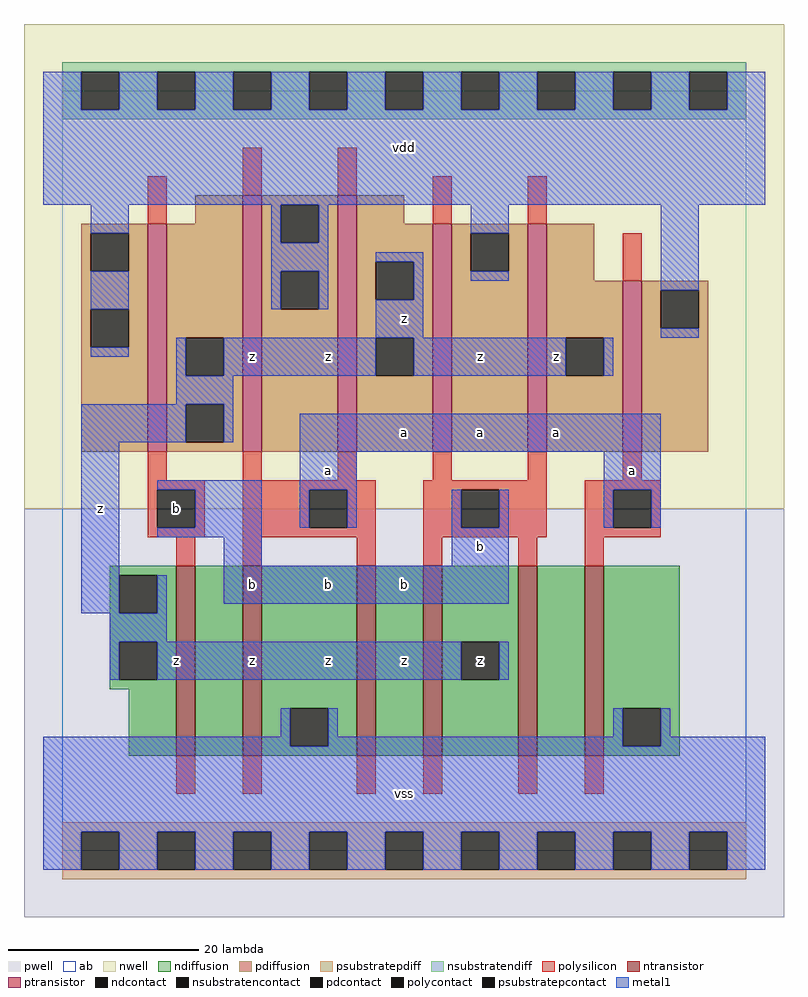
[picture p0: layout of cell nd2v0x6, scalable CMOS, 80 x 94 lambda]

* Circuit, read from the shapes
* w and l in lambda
.subckt nd2v0x6 a b vdd vss z
M1 n1 b z vss nfet w=20 l=2
M2 vss a n1 vss nfet w=20 l=2
M3 n2 a vss vss nfet w=20 l=2
M4 z b n2 vss nfet w=20 l=2
M5 n3 b z vss nfet w=20 l=2
M6 vss a n3 vss nfet w=20 l=2
M7 z b vdd vdd pfet w=24 l=2 m=3
M8 vdd a z vdd pfet w=27 l=2 m=2
M9 vdd a z vdd pfet w=18 l=2
.ends

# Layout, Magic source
magic
tech scmos
<< ab >>
rect 0 0 72 80
<< pwell >>
rect -4 -7 76 36
<< nwell >>
rect -4 36 76 87
<< polysilicon >>
rect 9 66 11 71
rect 19 69 21 74
rect 29 69 31 74
rect 39 66 41 71
rect 49 66 51 71
rect 59 60 61 65
rect 9 39 11 42
rect 19 39 21 42
rect 29 39 31 42
rect 39 39 41 42
rect 49 39 51 42
rect 59 39 61 42
rect 9 38 15 39
rect 9 34 10 38
rect 14 34 15 38
rect 9 33 15 34
rect 19 38 33 39
rect 19 34 26 38
rect 30 34 33 38
rect 19 33 33 34
rect 12 30 14 33
rect 19 30 21 33
rect 31 30 33 33
rect 38 38 51 39
rect 38 34 42 38
rect 46 34 51 38
rect 38 33 51 34
rect 55 38 63 39
rect 55 34 58 38
rect 62 34 63 38
rect 55 33 63 34
rect 38 30 40 33
rect 48 30 50 33
rect 55 30 57 33
rect 12 6 14 10
rect 19 6 21 10
rect 31 6 33 10
rect 38 6 40 10
rect 48 6 50 10
rect 55 6 57 10
<< ndiffusion >>
rect 5 29 12 30
rect 5 25 6 29
rect 10 25 12 29
rect 5 22 12 25
rect 5 18 6 22
rect 10 18 12 22
rect 5 17 12 18
rect 7 10 12 17
rect 14 10 19 30
rect 21 15 31 30
rect 21 11 24 15
rect 28 11 31 15
rect 21 10 31 11
rect 33 10 38 30
rect 40 22 48 30
rect 40 18 42 22
rect 46 18 48 22
rect 40 10 48 18
rect 50 10 55 30
rect 57 15 65 30
rect 57 11 59 15
rect 63 11 65 15
rect 57 10 65 11
<< pdiffusion >>
rect 14 66 19 69
rect 2 65 9 66
rect 2 61 3 65
rect 7 61 9 65
rect 2 57 9 61
rect 2 53 3 57
rect 7 53 9 57
rect 2 42 9 53
rect 11 54 19 66
rect 11 50 13 54
rect 17 50 19 54
rect 11 47 19 50
rect 11 43 13 47
rect 17 43 19 47
rect 11 42 19 43
rect 21 68 29 69
rect 21 64 23 68
rect 27 64 29 68
rect 21 61 29 64
rect 21 57 23 61
rect 27 57 29 61
rect 21 42 29 57
rect 31 66 36 69
rect 31 62 39 66
rect 31 58 33 62
rect 37 58 39 62
rect 31 54 39 58
rect 31 50 33 54
rect 37 50 39 54
rect 31 42 39 50
rect 41 65 49 66
rect 41 61 43 65
rect 47 61 49 65
rect 41 42 49 61
rect 51 60 56 66
rect 51 54 59 60
rect 51 50 53 54
rect 57 50 59 54
rect 51 42 59 50
rect 61 59 68 60
rect 61 55 63 59
rect 67 55 68 59
rect 61 42 68 55
<< metal1 >>
rect -2 78 2 82
rect 6 78 10 82
rect 14 78 18 82
rect 22 78 26 82
rect 30 78 34 82
rect 38 78 42 82
rect 46 78 50 82
rect 54 78 58 82
rect 62 78 66 82
rect 70 78 74 82
rect -2 68 74 78
rect 3 65 7 68
rect 3 57 7 61
rect 22 64 23 68
rect 27 64 28 68
rect 22 61 28 64
rect 43 65 47 68
rect 22 57 23 61
rect 27 57 28 61
rect 33 62 38 63
rect 37 58 38 62
rect 43 60 47 61
rect 33 54 38 58
rect 63 59 67 68
rect 63 54 67 55
rect 3 52 7 53
rect 12 50 13 54
rect 17 50 33 54
rect 37 50 53 54
rect 57 50 58 54
rect 12 47 18 50
rect 2 43 13 47
rect 17 43 18 47
rect 2 25 6 43
rect 25 42 63 46
rect 10 38 21 39
rect 14 34 21 38
rect 25 38 31 42
rect 57 38 63 42
rect 25 34 26 38
rect 30 34 31 38
rect 41 34 42 38
rect 46 34 47 38
rect 57 34 58 38
rect 62 34 63 38
rect 10 33 21 34
rect 17 30 21 33
rect 41 30 47 34
rect 10 25 11 29
rect 17 26 47 30
rect 5 22 11 25
rect 5 18 6 22
rect 10 18 42 22
rect 46 18 47 22
rect 23 12 24 15
rect -2 11 24 12
rect 28 12 29 15
rect 58 12 59 15
rect 28 11 59 12
rect 63 12 64 15
rect 63 11 74 12
rect -2 2 74 11
rect -2 -2 2 2
rect 6 -2 10 2
rect 14 -2 18 2
rect 22 -2 26 2
rect 30 -2 34 2
rect 38 -2 42 2
rect 46 -2 50 2
rect 54 -2 58 2
rect 62 -2 66 2
rect 70 -2 74 2
<< ntransistor >>
rect 12 10 14 30
rect 19 10 21 30
rect 31 10 33 30
rect 38 10 40 30
rect 48 10 50 30
rect 55 10 57 30
<< ptransistor >>
rect 9 42 11 66
rect 19 42 21 69
rect 29 42 31 69
rect 39 42 41 66
rect 49 42 51 66
rect 59 42 61 60
<< polycontact >>
rect 10 34 14 38
rect 26 34 30 38
rect 42 34 46 38
rect 58 34 62 38
<< ndcontact >>
rect 6 25 10 29
rect 6 18 10 22
rect 24 11 28 15
rect 42 18 46 22
rect 59 11 63 15
<< pdcontact >>
rect 3 61 7 65
rect 3 53 7 57
rect 13 50 17 54
rect 13 43 17 47
rect 23 64 27 68
rect 23 57 27 61
rect 33 58 37 62
rect 33 50 37 54
rect 43 61 47 65
rect 53 50 57 54
rect 63 55 67 59
<< psubstratepcontact >>
rect 2 -2 6 2
rect 10 -2 14 2
rect 18 -2 22 2
rect 26 -2 30 2
rect 34 -2 38 2
rect 42 -2 46 2
rect 50 -2 54 2
rect 58 -2 62 2
rect 66 -2 70 2
<< nsubstratencontact >>
rect 2 78 6 82
rect 10 78 14 82
rect 18 78 22 82
rect 26 78 30 82
rect 34 78 38 82
rect 42 78 46 82
rect 50 78 54 82
rect 58 78 62 82
rect 66 78 70 82
<< psubstratepdiff >>
rect 0 2 72 3
rect 0 -2 2 2
rect 6 -2 10 2
rect 14 -2 18 2
rect 22 -2 26 2
rect 30 -2 34 2
rect 38 -2 42 2
rect 46 -2 50 2
rect 54 -2 58 2
rect 62 -2 66 2
rect 70 -2 72 2
rect 0 -3 72 -2
<< nsubstratendiff >>
rect 0 82 72 83
rect 0 78 2 82
rect 6 78 10 82
rect 14 78 18 82
rect 22 78 26 82
rect 30 78 34 82
rect 38 78 42 82
rect 46 78 50 82
rect 54 78 58 82
rect 62 78 66 82
rect 70 78 72 82
rect 0 77 72 78
<< labels >>
rlabel metal1 4 36 4 36 6 z
rlabel metal1 12 20 12 20 6 z
rlabel metal1 20 28 20 28 6 b
rlabel metal1 20 20 20 20 6 z
rlabel polycontact 12 36 12 36 6 b
rlabel metal1 20 52 20 52 6 z
rlabel metal1 36 6 36 6 6 vss
rlabel metal1 28 28 28 28 6 b
rlabel metal1 28 20 28 20 6 z
rlabel metal1 36 28 36 28 6 b
rlabel metal1 36 20 36 20 6 z
rlabel metal1 28 40 28 40 6 a
rlabel metal1 36 44 36 44 6 a
rlabel metal1 28 52 28 52 6 z
rlabel metal1 36 56 36 56 6 z
rlabel metal1 36 74 36 74 6 vdd
rlabel ndcontact 44 20 44 20 6 z
rlabel metal1 44 32 44 32 6 b
rlabel metal1 44 44 44 44 6 a
rlabel metal1 52 44 52 44 6 a
rlabel metal1 52 52 52 52 6 z
rlabel metal1 44 52 44 52 6 z
rlabel metal1 60 40 60 40 6 a
<< end >>
